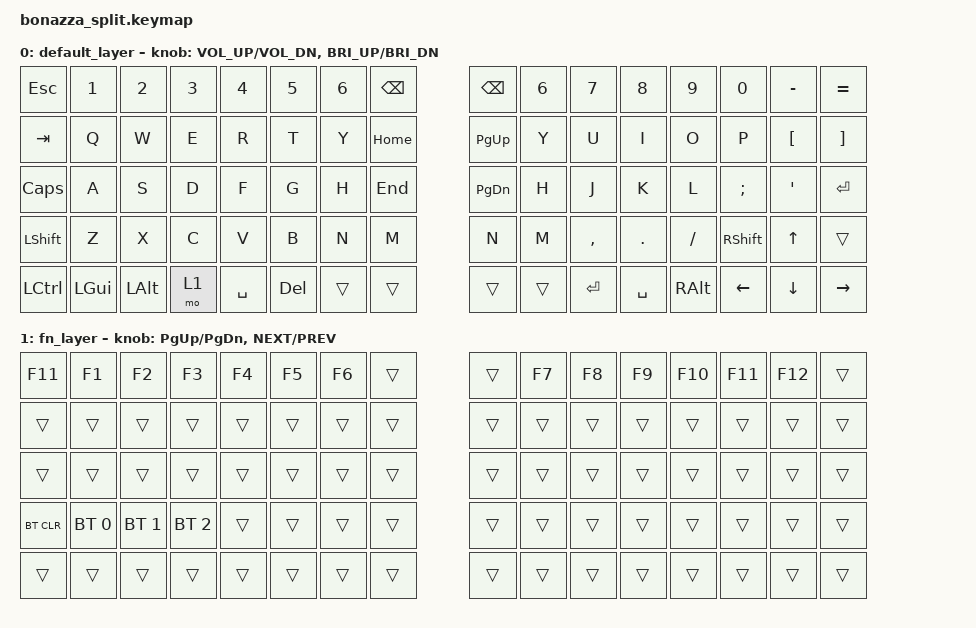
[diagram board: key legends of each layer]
#include <behaviors.dtsi>
#include <dt-bindings/zmk/keys.h>
#include <dt-bindings/zmk/bt.h>

/ {
    keymap {
        compatible = "zmk,keymap";

        default_layer {
            bindings = <
    &kp ESC   &kp N1 &kp N2 &kp N3 &kp N4 &kp N5 &kp N6 &kp BSPC        &kp BSPC &kp N6 &kp N7 &kp N8 &kp N9 &kp N0 &kp MINUS &kp EQUAL
    &kp TAB   &kp Q  &kp W  &kp E  &kp R  &kp T  &kp Y  &kp HOME        &kp PG_UP &kp Y  &kp U  &kp I  &kp O  &kp P  &kp LBKT  &kp RBKT
    &kp CLCK  &kp A  &kp S  &kp D  &kp F  &kp G  &kp H  &kp END         &kp PG_DN &kp H  &kp J  &kp K  &kp L  &kp SEMI &kp SQT &kp RET
    &kp LSHFT &kp Z  &kp X  &kp C  &kp V  &kp B  &kp N  &kp M           &kp N     &kp M  &kp COMMA &kp DOT &kp FSLH &kp RSHFT &kp UP &trans
    &kp LCTRL &kp LGUI &kp LALT &mo 1 &kp SPACE &kp DEL &trans &trans    &trans &trans &kp RET &kp SPACE &kp RALT &kp LEFT &kp DOWN &kp RIGHT
            >;

            sensor-bindings = <&inc_dec_kp C_VOL_UP C_VOL_DN &inc_dec_kp C_BRI_UP C_BRI_DN>;
        };

        fn_layer {
            bindings = <
    &kp F11   &kp F1 &kp F2 &kp F3 &kp F4 &kp F5 &kp F6 &trans          &trans &kp F7 &kp F8 &kp F9 &kp F10 &kp F11 &kp F12 &trans
    &trans    &trans &trans &trans &trans &trans &trans &trans          &trans &trans &trans &trans &trans &trans &trans &trans
    &trans    &trans &trans &trans &trans &trans &trans &trans          &trans &trans &trans &trans &trans &trans &trans &trans
    &bt BT_CLR &bt BT_SEL 0 &bt BT_SEL 1 &bt BT_SEL 2 &trans &trans &trans &trans    &trans &trans &trans &trans &trans &trans &trans &trans
    &trans    &trans &trans &trans &trans &trans &trans &trans          &trans &trans &trans &trans &trans &trans &trans &trans
            >;

            sensor-bindings = <&inc_dec_kp PG_UP PG_DN &inc_dec_kp C_NEXT C_PREV>;
        };
    };
};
